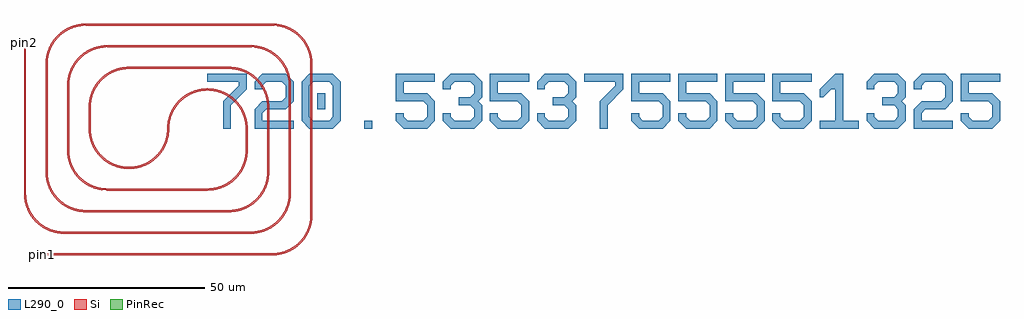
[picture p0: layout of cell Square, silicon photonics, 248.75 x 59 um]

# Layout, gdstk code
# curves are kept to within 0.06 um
import gdstk
lib = gdstk.Library(unit=1e-6, precision=1e-09)
def R(c, l, rs):  # rectangles x0, y0, x1, y1
    for r in rs: c.add(gdstk.rectangle(r[:2], r[2:], *l))
def P(c, l, *ps):  # polygons
    for p in ps: c.add(gdstk.Polygon(p, *l))
Si = (1, 0)
PinRec = (1, 10)
L290_0 = (290, 0)

square = lib.new_cell('Square')
R(square, Si, [(-42,-32.25,16.5,-31.75), (-36.5,-26.75,11,-26.25), (26.25,-22,26.75,16.5), (-31,-21.25,5.5,-20.75), (-46.75,-16.5,-46.25,22), (20.75,-16.5,21.25,11), (-25.5,-15.75,0,-15.25), (-41.25,-11,-40.75,16.5), (15.25,-11,15.75,5.5), (-35.75,-5.5,-35.25,11), (9.75,-5.5,10.25,0), (-30.25,0,-29.75,5.5), (-20,15.25,5.5,15.75), (-25.5,20.75,11,21.25), (-31,26.25,16.5,26.75)])
P(square, Si, [(-10.25,0),(-10.056,1.984),(-9.482,3.894),(-8.548,5.656),(-7.292,7.204),(-6.557,7.879),(-5.759,8.479),(-4.009,9.434),(-3.072,9.779),(-2.107,10.031),(-1.121,10.189),(0,10.25),(0,9.75),(-1.066,9.692),(-2.12,9.517),(-3.148,9.228),(-4.246,8.777),(-5.673,7.93),(-6.852,6.936),(-7.93,5.673),(-8.777,4.246),(-9.228,3.148),(-9.517,2.12),(-9.692,1.066),(-9.75,0)],
  [(-20,-10.25),(-20,-9.75),(-18.934,-9.692),(-17.88,-9.517),(-16.852,-9.228),(-15.754,-8.777),(-14.327,-7.93),(-13.148,-6.936),(-12.07,-5.673),(-11.223,-4.246),(-10.772,-3.148),(-10.483,-2.12),(-10.308,-1.066),(-10.25,0),(-9.75,0),(-9.944,-1.984),(-10.518,-3.894),(-11.452,-5.656),(-12.708,-7.204),(-13.443,-7.879),(-14.241,-8.479),(-15.991,-9.434),(-16.928,-9.779),(-17.893,-10.031),(-18.879,-10.189)],
  [(0,-15.75),(0,-15.25),(1.066,-15.192),(2.12,-15.017),(3.148,-14.728),(4.246,-14.277),(5.673,-13.43),(6.852,-12.436),(7.93,-11.173),(8.777,-9.746),(9.228,-8.648),(9.517,-7.62),(9.692,-6.566),(9.75,-5.5),(10.25,-5.5),(10.056,-7.484),(9.482,-9.394),(8.548,-11.156),(7.292,-12.704),(6.557,-13.379),(5.759,-13.979),(4.009,-14.934),(3.072,-15.279),(2.107,-15.531),(1.121,-15.689)],
  [(5.5,-21.25),(5.5,-20.75),(6.566,-20.692),(7.62,-20.517),(8.648,-20.228),(9.746,-19.777),(11.173,-18.93),(12.352,-17.936),(13.43,-16.673),(14.277,-15.246),(14.728,-14.148),(15.017,-13.12),(15.192,-12.066),(15.25,-11),(15.75,-11),(15.556,-12.984),(14.982,-14.894),(14.048,-16.656),(12.792,-18.204),(12.057,-18.879),(11.259,-19.479),(9.509,-20.434),(8.572,-20.779),(7.607,-21.031),(6.621,-21.189)],
  [(11,-26.75),(11,-26.25),(12.066,-26.192),(13.12,-26.017),(14.148,-25.728),(15.246,-25.277),(16.673,-24.43),(17.852,-23.436),(18.93,-22.173),(19.777,-20.746),(20.228,-19.648),(20.517,-18.62),(20.692,-17.566),(20.75,-16.5),(21.25,-16.5),(21.056,-18.484),(20.482,-20.394),(19.548,-22.156),(18.292,-23.704),(17.557,-24.379),(16.759,-24.979),(15.009,-25.934),(14.072,-26.279),(13.107,-26.531),(12.121,-26.689)],
  [(16.5,-32.25),(16.5,-31.75),(17.566,-31.692),(18.62,-31.517),(19.648,-31.228),(20.746,-30.777),(22.173,-29.93),(23.352,-28.936),(24.43,-27.673),(25.277,-26.246),(25.728,-25.148),(26.017,-24.12),(26.192,-23.066),(26.25,-22),(26.75,-22),(26.556,-23.984),(25.982,-25.894),(25.048,-27.656),(23.792,-29.204),(23.057,-29.879),(22.259,-30.479),(20.509,-31.434),(19.572,-31.779),(18.607,-32.031),(17.621,-32.189)],
  [(9.75,0),(9.566,1.888),(9.064,3.594),(8.26,5.18),(7.101,6.681),(5.865,7.789),(4.352,8.725),(3.26,9.189),(2.236,9.49),(1.066,9.692),(0,9.75),(0,10.25),(1.121,10.189),(2.107,10.031),(3.072,9.779),(4.009,9.434),(5.017,8.939),(5.862,8.408),(6.747,7.717),(7.465,7.024),(8.189,6.165),(8.814,5.233),(9.333,4.237),(9.741,3.191),(10.122,1.616),(10.25,0)],
  [(15.25,5.5),(15.066,7.388),(14.564,9.094),(13.76,10.68),(12.601,12.181),(11.365,13.289),(9.852,14.225),(8.76,14.689),(7.736,14.99),(6.566,15.192),(5.5,15.25),(5.5,15.75),(6.621,15.689),(7.607,15.531),(8.572,15.279),(9.509,14.934),(10.517,14.439),(11.362,13.908),(12.247,13.217),(12.965,12.524),(13.689,11.665),(14.314,10.733),(14.833,9.737),(15.241,8.691),(15.622,7.116),(15.75,5.5)],
  [(20.75,11),(20.566,12.888),(20.064,14.594),(19.26,16.18),(18.101,17.681),(16.865,18.789),(15.352,19.725),(14.26,20.189),(13.236,20.49),(12.066,20.692),(11,20.75),(11,21.25),(12.121,21.189),(13.107,21.031),(14.072,20.779),(15.009,20.434),(16.017,19.939),(16.862,19.408),(17.747,18.717),(18.465,18.024),(19.189,17.165),(19.814,16.233),(20.333,15.237),(20.741,14.191),(21.122,12.616),(21.25,11)],
  [(26.25,16.5),(26.066,18.388),(25.564,20.094),(24.76,21.68),(23.601,23.181),(22.365,24.289),(20.852,25.225),(19.76,25.689),(18.736,25.99),(17.566,26.192),(16.5,26.25),(16.5,26.75),(17.621,26.689),(18.607,26.531),(19.572,26.279),(20.509,25.934),(21.517,25.439),(22.362,24.908),(23.247,24.217),(23.965,23.524),(24.689,22.665),(25.314,21.733),(25.833,20.737),(26.241,19.691),(26.622,18.116),(26.75,16.5)],
  [(-30.25,5.5),(-30.056,7.484),(-29.482,9.394),(-28.548,11.156),(-27.292,12.704),(-26.557,13.379),(-25.759,13.979),(-24.009,14.934),(-23.072,15.279),(-22.107,15.531),(-21.121,15.689),(-20,15.75),(-20,15.25),(-21.066,15.192),(-22.12,15.017),(-23.148,14.728),(-24.246,14.277),(-25.673,13.43),(-26.852,12.436),(-27.93,11.173),(-28.777,9.746),(-29.228,8.648),(-29.517,7.62),(-29.692,6.566),(-29.75,5.5)],
  [(-35.75,11),(-35.556,12.984),(-34.982,14.894),(-34.048,16.656),(-32.792,18.204),(-32.057,18.879),(-31.259,19.479),(-29.509,20.434),(-28.572,20.779),(-27.607,21.031),(-26.621,21.189),(-25.5,21.25),(-25.5,20.75),(-26.566,20.692),(-27.62,20.517),(-28.648,20.228),(-29.746,19.777),(-31.173,18.93),(-32.352,17.936),(-33.43,16.673),(-34.277,15.246),(-34.728,14.148),(-35.017,13.12),(-35.192,12.066),(-35.25,11)],
  [(-41.25,16.5),(-41.056,18.484),(-40.482,20.394),(-39.548,22.156),(-38.292,23.704),(-37.557,24.379),(-36.759,24.979),(-35.009,25.934),(-34.072,26.279),(-33.107,26.531),(-32.121,26.689),(-31,26.75),(-31,26.25),(-32.066,26.192),(-33.12,26.017),(-34.148,25.728),(-35.246,25.277),(-36.673,24.43),(-37.852,23.436),(-38.93,22.173),(-39.777,20.746),(-40.228,19.648),(-40.517,18.62),(-40.692,17.566),(-40.75,16.5)],
  [(-20,-10.25),(-21.984,-10.056),(-23.894,-9.482),(-25.656,-8.548),(-27.204,-7.292),(-27.879,-6.557),(-28.479,-5.759),(-29.434,-4.009),(-29.779,-3.072),(-30.031,-2.107),(-30.189,-1.121),(-30.25,0),(-29.75,0),(-29.692,-1.066),(-29.517,-2.12),(-29.228,-3.148),(-28.777,-4.246),(-27.93,-5.673),(-26.936,-6.852),(-25.673,-7.93),(-24.246,-8.777),(-23.148,-9.228),(-22.12,-9.517),(-21.066,-9.692),(-20,-9.75)],
  [(-25.5,-15.75),(-27.484,-15.556),(-29.394,-14.982),(-31.156,-14.048),(-32.704,-12.792),(-33.379,-12.057),(-33.979,-11.259),(-34.934,-9.509),(-35.279,-8.572),(-35.531,-7.607),(-35.689,-6.621),(-35.75,-5.5),(-35.25,-5.5),(-35.192,-6.566),(-35.017,-7.62),(-34.728,-8.648),(-34.277,-9.746),(-33.43,-11.173),(-32.436,-12.352),(-31.173,-13.43),(-29.746,-14.277),(-28.648,-14.728),(-27.62,-15.017),(-26.566,-15.192),(-25.5,-15.25)],
  [(-31,-21.25),(-32.984,-21.056),(-34.894,-20.482),(-36.656,-19.548),(-38.204,-18.292),(-38.879,-17.557),(-39.479,-16.759),(-40.434,-15.009),(-40.779,-14.072),(-41.031,-13.107),(-41.189,-12.121),(-41.25,-11),(-40.75,-11),(-40.692,-12.066),(-40.517,-13.12),(-40.228,-14.148),(-39.777,-15.246),(-38.93,-16.673),(-37.936,-17.852),(-36.673,-18.93),(-35.246,-19.777),(-34.148,-20.228),(-33.12,-20.517),(-32.066,-20.692),(-31,-20.75)],
  [(-36.5,-26.75),(-38.484,-26.556),(-40.394,-25.982),(-42.156,-25.048),(-43.704,-23.792),(-44.379,-23.057),(-44.979,-22.259),(-45.934,-20.509),(-46.279,-19.572),(-46.531,-18.607),(-46.689,-17.621),(-46.75,-16.5),(-46.25,-16.5),(-46.192,-17.566),(-46.017,-18.62),(-45.728,-19.648),(-45.277,-20.746),(-44.43,-22.173),(-43.436,-23.352),(-42.173,-24.43),(-40.746,-25.277),(-39.648,-25.728),(-38.62,-26.017),(-37.566,-26.192),(-36.5,-26.25)])
R(square, L290_0, [(40,0,42,2), (28,5,30,9)])
P(square, L290_0, [(4,0),(4,7),(8,11),(8,12),(0,12),(0,14),(10,14),(10,10),(6,6),(6,0)],
  [(12,0),(12,5),(14,7),(19,7),(20,8),(20,11),(19,12),(15,12),(14,11),(14,10),(12,10),(12,12),(14,14),(20,14),(22,12),(22,7),(20,5),(15,5),(14,4),(14,2),(22,2),(22,0)],
  [(26,0),(24,2),(24,12),(26,14),(32,14),(34,12),(27,12),(26,11),(26,3),(27,2),(31,2),(32,3),(32,11),(31,12),(34,12),(34,2),(32,0)],
  [(50,0),(48,2),(48,4),(50,4),(50,3),(51,2),(55,2),(56,3),(56,6),(55,7),(48,7),(48,14),(58,14),(58,12),(50,12),(50,9),(56,9),(58,7),(58,2),(56,0)],
  [(62,0),(60,2),(60,4),(62,4),(62,3),(63,2),(67,2),(68,3),(68,5),(67,6),(64,6),(64,8),(67,8),(68,9),(68,11),(67,12),(63,12),(62,11),(62,10),(60,10),(60,12),(62,14),(68,14),(70,12),(70,8),(69,7),(70,6),(70,2),(68,0)],
  [(74,0),(72,2),(72,4),(74,4),(74,3),(75,2),(79,2),(80,3),(80,6),(79,7),(72,7),(72,14),(82,14),(82,12),(74,12),(74,9),(80,9),(82,7),(82,2),(80,0)],
  [(86,0),(84,2),(84,4),(86,4),(86,3),(87,2),(91,2),(92,3),(92,5),(91,6),(88,6),(88,8),(91,8),(92,9),(92,11),(91,12),(87,12),(86,11),(86,10),(84,10),(84,12),(86,14),(92,14),(94,12),(94,8),(93,7),(94,6),(94,2),(92,0)],
  [(100,0),(100,7),(104,11),(104,12),(96,12),(96,14),(106,14),(106,10),(102,6),(102,0)],
  [(110,0),(108,2),(108,4),(110,4),(110,3),(111,2),(115,2),(116,3),(116,6),(115,7),(108,7),(108,14),(118,14),(118,12),(110,12),(110,9),(116,9),(118,7),(118,2),(116,0)],
  [(122,0),(120,2),(120,4),(122,4),(122,3),(123,2),(127,2),(128,3),(128,6),(127,7),(120,7),(120,14),(130,14),(130,12),(122,12),(122,9),(128,9),(130,7),(130,2),(128,0)],
  [(134,0),(132,2),(132,4),(134,4),(134,3),(135,2),(139,2),(140,3),(140,6),(139,7),(132,7),(132,14),(142,14),(142,12),(134,12),(134,9),(140,9),(142,7),(142,2),(140,0)],
  [(146,0),(144,2),(144,4),(146,4),(146,3),(147,2),(151,2),(152,3),(152,6),(151,7),(144,7),(144,14),(154,14),(154,12),(146,12),(146,9),(152,9),(154,7),(154,2),(152,0)],
  [(156,0),(156,2),(160,2),(160,10),(159,10),(157,8),(156,8),(156,10),(160,14),(162,14),(162,2),(166,2),(166,0)],
  [(170,0),(168,2),(168,4),(170,4),(170,3),(171,2),(175,2),(176,3),(176,5),(175,6),(172,6),(172,8),(175,8),(176,9),(176,11),(175,12),(171,12),(170,11),(170,10),(168,10),(168,12),(170,14),(176,14),(178,12),(178,8),(177,7),(178,6),(178,2),(176,0)],
  [(180,0),(180,5),(182,7),(187,7),(188,8),(188,11),(187,12),(183,12),(182,11),(182,10),(180,10),(180,12),(182,14),(188,14),(190,12),(190,7),(188,5),(183,5),(182,4),(182,2),(190,2),(190,0)],
  [(194,0),(192,2),(192,4),(194,4),(194,3),(195,2),(199,2),(200,3),(200,6),(199,7),(192,7),(192,14),(202,14),(202,12),(194,12),(194,9),(200,9),(202,7),(202,2),(200,0)])
square.add(gdstk.FlexPath([(-41.95,-32),(-42.05,-32)], 0.5, ends="flush", simple_path=True, layer=1, datatype=10))  # PinRec
square.add(gdstk.FlexPath([(-46.5,21.95),(-46.5,22.05)], 0.5, ends="flush", simple_path=True, layer=1, datatype=10))  # PinRec
square.add(gdstk.Label('pin1', (-42,-32), layer=1, texttype=10))
square.add(gdstk.Label('pin2', (-46.5,22), layer=1, texttype=10))

lib.write_gds('Square.gds')
